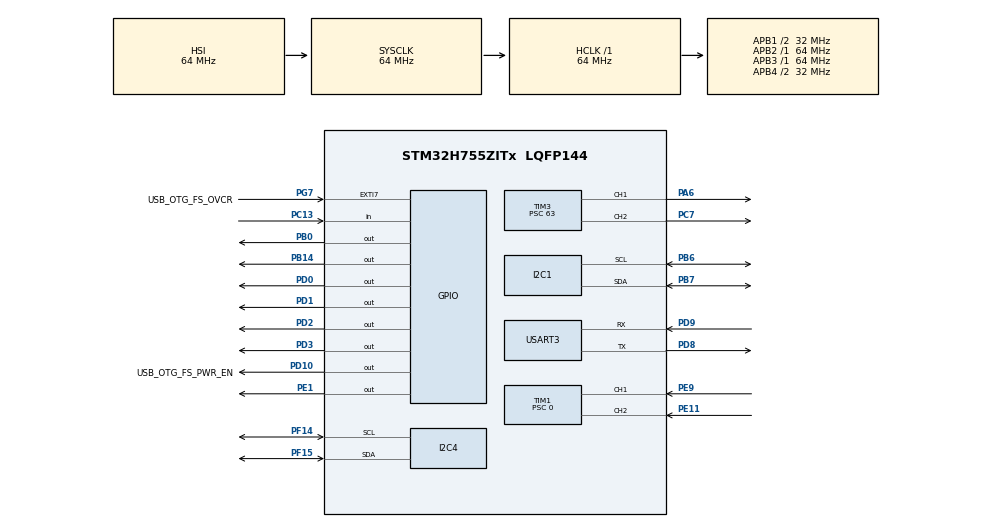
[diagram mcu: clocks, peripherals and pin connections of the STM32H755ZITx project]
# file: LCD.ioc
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CortexM4.IPs=FATFS_M4\:I,FREERTOS_M4\:I,IWDG2\:I,RCC,WWDG2\:I,DMA,BDMA,MDMA,NVIC2\:I,DEBUG,PDM2PCM_M4\:I,PWR,RESMGR_UTILITY,SYS_M4\:I,USB_DEVICE_M4\:I,USB_HOST_M4\:I,CORTEX_M4\:I,GPIO,OPENAMP_M4\:I,VREFBUF,NUCLEO-H755ZI-Q
CortexM7.IPs=FATFS_M7\:I,FREERTOS_M7\:I,IWDG1\:I,RCC\:I,WWDG1\:I,DMA\:I,BDMA\:I,MDMA\:I,NVIC1\:I,USART3\:I,USB_OTG_FS\:I,SYS\:I,CORTEX_M7\:I,DEBUG\:I,PDM2PCM_M7\:I,PWR\:I,RESMGR_UTILITY\:I,USB_DEVICE_M7\:I,USB_HOST_M7\:I,GPIO\:I,OPENAMP_M7\:I,VREFBUF\:I,NUCLEO-H755ZI-Q\:I,MEMORYMAP\:I,I2C4\:I,I2C1\:I,TIM3\:I,TIM1\:I
CortexM7.Pins=PD0,PD1,PD2
I2C1.Timing=0x00707CBB
I2C4.Timing=0x00707CBB
Mcu.Family=STM32H7
Mcu.Name=STM32H755ZITx
Mcu.Package=LQFP144
NVIC1.PriorityGroup=NVIC_PRIORITYGROUP_4
NVIC1.USART3_IRQn=true\:0\:0\:false\:false\:true\:true\:true\:true
NVIC2.PriorityGroup=NVIC_PRIORITYGROUP_4
PA1.PinAttribute=CortexM7
PA1.Signal=ETH_REF_CLK
PA11.PinAttribute=CortexM7
PA11.Signal=USB_OTG_FS_DM
PA12.PinAttribute=CortexM7
PA12.Signal=USB_OTG_FS_DP
PA2.PinAttribute=CortexM7
PA2.Signal=ETH_MDIO
PA6.PinAttribute=CortexM7
PA6.Signal=S_TIM3_CH1
PA7.PinAttribute=CortexM7
PA7.Signal=ETH_CRS_DV
PA8.PinAttribute=CortexM7
PA8.Signal=USB_OTG_FS_SOF
PA9.PinAttribute=CortexM7
PA9.Signal=USB_OTG_FS_VBUS
PB0.PinAttribute=Free
PB0.Signal=GPIO_Output
PB13.PinAttribute=CortexM7
PB13.Signal=ETH_TXD1
PB14.PinAttribute=Free
PB14.Signal=GPIO_Output
PB6.Mode=I2C
PB6.PinAttribute=CortexM7
PB6.Signal=I2C1_SCL
PB7.Mode=I2C
PB7.PinAttribute=CortexM7
PB7.Signal=I2C1_SDA
PC1.PinAttribute=CortexM7
PC1.Signal=ETH_MDC
PC13.PinAttribute=Free
PC13.Signal=GPIO_Input
PC14-OSC32_IN\ (OSC32_IN).PinAttribute=Free
PC14-OSC32_IN\ (OSC32_IN).Signal=RCC_OSC32_IN
PC15-OSC32_OUT\ (OSC32_OUT).PinAttribute=Free
PC15-OSC32_OUT\ (OSC32_OUT).Signal=RCC_OSC32_OUT
PC4.PinAttribute=CortexM7
PC4.Signal=ETH_RXD0
PC5.PinAttribute=CortexM7
PC5.Signal=ETH_RXD1
PC7.PinAttribute=CortexM7
PC7.Signal=S_TIM3_CH2
PD0.GPIO_ModeDefaultOutputPP=GPIO_MODE_OUTPUT_PP
PD0.PinAttribute=CortexM7
PD0.PinState=GPIO_PIN_SET
PD0.Signal=GPIO_Output
PD1.PinAttribute=CortexM7
PD1.PinState=GPIO_PIN_SET
PD1.Signal=GPIO_Output
PD10.GPIO_Label=USB_OTG_FS_PWR_EN
PD10.PinAttribute=Free
PD10.Signal=GPIO_Output
PD2.PinAttribute=CortexM7
PD2.PinState=GPIO_PIN_SET
PD2.Signal=GPIO_Output
PD3.PinAttribute=Free
PD3.PinState=GPIO_PIN_SET
PD3.Signal=GPIO_Output
PD8.Mode=Asynchronous
PD8.PinAttribute=CortexM7
PD8.Signal=USART3_TX
PD9.Mode=Asynchronous
PD9.PinAttribute=CortexM7
PD9.Signal=USART3_RX
PE1.PinAttribute=Free
PE1.Signal=GPIO_Output
PE11.PinAttribute=CortexM7
PE11.Signal=S_TIM1_CH2
PE9.PinAttribute=CortexM7
PE9.Signal=S_TIM1_CH1
PF14.Mode=I2C
PF14.PinAttribute=CortexM7
PF14.Signal=I2C4_SCL
PF15.Mode=I2C
PF15.PinAttribute=CortexM7
PF15.Signal=I2C4_SDA
PG11.PinAttribute=CortexM7
PG11.Signal=ETH_TX_EN
PG13.PinAttribute=CortexM7
PG13.Signal=ETH_TXD0
PG7.GPIO_Label=USB_OTG_FS_OVCR
PG7.PinAttribute=Free
PG7.Signal=GPXTI7
PH0-OSC_IN\ (PH0).PinAttribute=Free
PH0-OSC_IN\ (PH0).Signal=RCC_OSC_IN
PH1-OSC_OUT\ (PH1).PinAttribute=Free
PH1-OSC_OUT\ (PH1).Signal=RCC_OSC_OUT
ProjectManager.HeapSize=M4-0x200,M7-0x200
ProjectManager.StackSize=M4-0x400,M7-0x400
ProjectManager.TargetToolchain=STM32CubeIDE
RCC.ADCFreq_Value=129000000
RCC.APB1Freq_Value=32000000
RCC.APB2Freq_Value=64000000
RCC.APB3Freq_Value=64000000
RCC.APB4Freq_Value=32000000
RCC.CortexFreq_Value=64000000
RCC.D2PPRE1=RCC_APB1_DIV2
RCC.D3PPRE=RCC_APB4_DIV2
RCC.DIVM1=5
RCC.DIVN1=48
RCC.DIVQ1=5
RCC.HCLKFreq_Value=64000000
RCC.PLL2FRACN=0
RCC.PLL3FRACN=0
RCC.PLLFRACN=0
RCC.SYSCLKFreq_VALUE=64000000
RCC.SupplySource=PWR_DIRECT_SMPS_SUPPLY
RCC.USBFreq_Value=122880000
SH.S_TIM1_CH1.0=TIM1_CH1,Encoder_Interface
SH.S_TIM1_CH2.0=TIM1_CH2,Encoder_Interface
SH.S_TIM3_CH1.0=TIM3_CH1,PWM Generation1 CH1
SH.S_TIM3_CH2.0=TIM3_CH2,PWM Generation2 CH2
TIM1.Period=30
TIM1.Prescaler=0
TIM3.AutoReloadPreload=TIM_AUTORELOAD_PRELOAD_ENABLE
TIM3.Channel-PWM\ Generation1\ CH1=TIM_CHANNEL_1
TIM3.Channel-PWM\ Generation2\ CH2=TIM_CHANNEL_2
TIM3.Period=999
TIM3.Prescaler=63
USART3.VirtualMode-Asynchronous=VM_ASYNC
VP_MEMORYMAP_VS_MEMORYMAP.Mode=CurAppReg
VP_SYS_M4_VS_Systick.Mode=SysTick
board=NUCLEO-H755ZI-Q

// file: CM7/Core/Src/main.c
/* USER CODE BEGIN Header */
/**
  ******************************************************************************
  * @file           : main.c
  * @brief          : Main program body
  ******************************************************************************
  * @attention
  *
  * Copyright (c) 2025 STMicroelectronics.
  * All rights reserved.
  *
  * This software is licensed under terms that can be found in the LICENSE file
  * in the root directory of this software component.
  * If no LICENSE file comes with this software, it is provided AS-IS.
  *
  ******************************************************************************
  */
/* USER CODE END Header */
#include "main.h"

/* USER CODE BEGIN Includes */
#include "BMPXX80.h"
#include "grove_lcd_red.h"
#include <stdio.h>
#include <string.h>
/* USER CODE END Includes */

/* USER CODE BEGIN PD */

/* DUAL_CORE_BOOT_SYNC_SEQUENCE: Define for dual core boot synchronization    */
/*                             demonstration code based on hardware semaphore */
/* This define is present in both CM7/CM4 projects                            */
/* To comment when developping/debugging on a single core                     */
#define DUAL_CORE_BOOT_SYNC_SEQUENCE

#if defined(DUAL_CORE_BOOT_SYNC_SEQUENCE)
#ifndef HSEM_ID_0
#define HSEM_ID_0 (0U) /* HW semaphore 0*/
#endif
#endif /* DUAL_CORE_BOOT_SYNC_SEQUENCE */

/* USER CODE END PD */

I2C_HandleTypeDef hi2c1;
I2C_HandleTypeDef hi2c4;

TIM_HandleTypeDef htim1;
TIM_HandleTypeDef htim3;

UART_HandleTypeDef huart3;

/* USER CODE BEGIN PV */
float temperature;
int32_t pressure;
char msg[32];

float setpoint = 30.0;  // predefiniowana temperatura
float Kp = 5.0;
float Ki = 0.01;
float Kd = 2.0;

float error_integral = 0;
float last_error = 0;
float dt = 0.5; // Czas próbkowania
float error;
float u;
float fan=0.6; //min 0 max 1, wypelnienie wentylatora
float error_percent; // procent z bledu do led
float received_val;
uint8_t uart_rx_buffer[4];
int16_t last_counter_value = 0;
extern int16_t last_counter_value;
/* USER CODE END PV */

void SystemClock_Config(void);
static void MX_GPIO_Init(void);
static void MX_I2C4_Init(void);
static void MX_I2C1_Init(void);
static void MX_USART3_UART_Init(void);
static void MX_TIM3_Init(void);
static void MX_TIM1_Init(void);

int main(void)
{

  /* USER CODE BEGIN 1 */
#define MAX_LENGTH 30
char text[MAX_LENGTH];
  /* USER CODE END 1 */
/* USER CODE BEGIN Boot_Mode_Sequence_0 */
#if defined(DUAL_CORE_BOOT_SYNC_SEQUENCE)
  int32_t timeout;
#endif /* DUAL_CORE_BOOT_SYNC_SEQUENCE */
/* USER CODE END Boot_Mode_Sequence_0 */

/* USER CODE BEGIN Boot_Mode_Sequence_1 */
#if defined(DUAL_CORE_BOOT_SYNC_SEQUENCE)
  /* Wait until CPU2 boots and enters in stop mode or timeout*/
   timeout = 0xFFFF;
  while((__HAL_RCC_GET_FLAG(RCC_FLAG_D2CKRDY) != RESET) && (timeout-- > 0));
  if ( timeout < 0 )
  {
  Error_Handler();
  }
#endif /* DUAL_CORE_BOOT_SYNC_SEQUENCE */
/* USER CODE END Boot_Mode_Sequence_1 */
  /* MCU Configuration--------------------------------------------------------*/

  /* Reset of all peripherals, Initializes the Flash interface and the Systick. */
  HAL_Init();

  /* Configure the system clock */
  SystemClock_Config();
/* USER CODE BEGIN Boot_Mode_Sequence_2 */
#if defined(DUAL_CORE_BOOT_SYNC_SEQUENCE)
/* When system initialization is finished, Cortex-M7 will release Cortex-M4 by means of
HSEM notification */
/*HW semaphore Clock enable*/
__HAL_RCC_HSEM_CLK_ENABLE();
/*Take HSEM */
HAL_HSEM_FastTake(HSEM_ID_0);
/*Release HSEM in order to notify the CPU2(CM4)*/
HAL_HSEM_Release(HSEM_ID_0,0);
/* wait until CPU2 wakes up from stop mode */
timeout = 0xFFFF;
while((__HAL_RCC_GET_FLAG(RCC_FLAG_D2CKRDY) == RESET) && (timeout-- > 0));
if ( timeout < 0 )
{
Error_Handler();
}
#endif /* DUAL_CORE_BOOT_SYNC_SEQUENCE */
/* USER CODE END Boot_Mode_Sequence_2 */

  /* Initialize all configured peripherals */
  MX_GPIO_Init();
  MX_I2C4_Init();
  MX_I2C1_Init();
  MX_USART3_UART_Init();
  MX_TIM3_Init();
  MX_TIM1_Init();
  /* USER CODE BEGIN 2 */
    BMP280_Init(&hi2c1, BMP280_TEMPERATURE_16BIT, BMP280_STANDARD, BMP280_FORCEDMODE);
    HAL_UART_Receive_IT(&huart3, uart_rx_buffer, 4);
    GroveLCD_Init();
    HAL_TIM_PWM_Start(&htim3, TIM_CHANNEL_1);
    HAL_TIM_PWM_Start(&htim3, TIM_CHANNEL_2);
    HAL_TIM_Encoder_Start(&htim1, TIM_CHANNEL_ALL);
  /* USER CODE END 2 */

  /* Infinite loop */
  while (1)
  {

    /* USER CODE BEGIN 3 */
        // 1. ODCZYT TEMPERATURY
        BMP280_ReadTemperatureAndPressure(&temperature, &pressure);
        // 2. POBOR SETPOINT Z ENKODERA LUB UART
        int16_t current_counter_value = (int16_t)__HAL_TIM_GET_COUNTER(&htim1);
        int16_t delta = current_counter_value - last_counter_value;
        if (delta !=0) {
            setpoint += (float)(delta );
            last_counter_value = current_counter_value;}
        if (setpoint > 50.0f) setpoint = 50.0f;
        if (setpoint < 20.0f) setpoint = 20.0f;

        // 2. ALGORYTM PID
         error = setpoint - temperature; //UCHYB
        error_integral += error * dt;
        if (error_integral > 100) error_integral = 100; // ANTI WINDUP
        if (error_integral < -100) error_integral = -100;
        float derivative = (error - last_error) / dt; // ROZNICZKOWANIE
         u = (Kp * error + Ki * error_integral + Kd * derivative); // U
        if (u > 1.0f) u = 1.0f;
        if (u < 0.0f) u = 0.0f; // NASYCENIE
        // 3. STEROWANIE PWM
        uint32_t pwm_value = (uint32_t)(u * 1000.0f);
        uint32_t fan_pwm = (uint32_t)(fan * 1000.f);
        __HAL_TIM_SET_COMPARE(&htim3, TIM_CHANNEL_1, pwm_value);
        __HAL_TIM_SET_COMPARE(&htim3, TIM_CHANNEL_2, fan_pwm);
        // 4. WYŚWIETLANIE I DIAGNOSTYKA
        last_error = error;
        GroveLCD_SetCursor(0, 0);
        sprintf(text, "T:%.2f -> %.1f ", temperature, setpoint);
        GroveLCD_Print(text);
        GroveLCD_SetCursor(0, 1);
        sprintf(text, "PWM: %lu %%  ", (uint32_t)(u * 100));
        GroveLCD_Print(text);
        HAL_UART_Transmit(&huart3, (uint8_t*)&temperature, 4, 100);
         error_percent = (error / setpoint) * 100.0f;
        HAL_GPIO_WritePin(GPIOD, GPIO_PIN_0 | GPIO_PIN_1 | GPIO_PIN_2 | GPIO_PIN_3, GPIO_PIN_RESET);
        if (error_percent > 0.01) {HAL_GPIO_WritePin(GPIOD, GPIO_PIN_0, GPIO_PIN_SET);}
        else if (error_percent < -0.01) {HAL_GPIO_WritePin(GPIOD, GPIO_PIN_2, GPIO_PIN_SET);}
        else {HAL_GPIO_WritePin(GPIOD, GPIO_PIN_1, GPIO_PIN_SET);
        	HAL_GPIO_WritePin(GPIOD, GPIO_PIN_3, GPIO_PIN_SET) ;}
        HAL_Delay(500); // Nasze dt = 0.5s
      }
  /* USER CODE END 3 */
}

void SystemClock_Config(void)
{
  RCC_OscInitTypeDef RCC_OscInitStruct = {0};
  RCC_ClkInitTypeDef RCC_ClkInitStruct = {0};

  /** Supply configuration update enable
  */
  HAL_PWREx_ConfigSupply(PWR_DIRECT_SMPS_SUPPLY);

  /** Configure the main internal regulator output voltage
  */
  __HAL_PWR_VOLTAGESCALING_CONFIG(PWR_REGULATOR_VOLTAGE_SCALE3);

  while(!__HAL_PWR_GET_FLAG(PWR_FLAG_VOSRDY)) {}

  /** Initializes the RCC Oscillators according to the specified parameters
  * in the RCC_OscInitTypeDef structure.
  */
  RCC_OscInitStruct.OscillatorType = RCC_OSCILLATORTYPE_HSI;
  RCC_OscInitStruct.HSIState = RCC_HSI_DIV1;
  RCC_OscInitStruct.HSICalibrationValue = RCC_HSICALIBRATION_DEFAULT;
  RCC_OscInitStruct.PLL.PLLState = RCC_PLL_NONE;
  if (HAL_RCC_OscConfig(&RCC_OscInitStruct) != HAL_OK)
  {
    Error_Handler();
  }

  /** Initializes the CPU, AHB and APB buses clocks
  */
  RCC_ClkInitStruct.ClockType = RCC_CLOCKTYPE_HCLK|RCC_CLOCKTYPE_SYSCLK
                              |RCC_CLOCKTYPE_PCLK1|RCC_CLOCKTYPE_PCLK2
                              |RCC_CLOCKTYPE_D3PCLK1|RCC_CLOCKTYPE_D1PCLK1;
  RCC_ClkInitStruct.SYSCLKSource = RCC_SYSCLKSOURCE_HSI;
  RCC_ClkInitStruct.SYSCLKDivider = RCC_SYSCLK_DIV1;
  RCC_ClkInitStruct.AHBCLKDivider = RCC_HCLK_DIV1;
  RCC_ClkInitStruct.APB3CLKDivider = RCC_APB3_DIV1;
  RCC_ClkInitStruct.APB1CLKDivider = RCC_APB1_DIV2;
  RCC_ClkInitStruct.APB2CLKDivider = RCC_APB2_DIV1;
  RCC_ClkInitStruct.APB4CLKDivider = RCC_APB4_DIV2;

  if (HAL_RCC_ClockConfig(&RCC_ClkInitStruct, FLASH_LATENCY_1) != HAL_OK)
  {
    Error_Handler();
  }
}

static void MX_I2C1_Init(void)
{

  hi2c1.Instance = I2C1;
  hi2c1.Init.Timing = 0x00707CBB;
  hi2c1.Init.OwnAddress1 = 0;
  hi2c1.Init.AddressingMode = I2C_ADDRESSINGMODE_7BIT;
  hi2c1.Init.DualAddressMode = I2C_DUALADDRESS_DISABLE;
  hi2c1.Init.OwnAddress2 = 0;
  hi2c1.Init.OwnAddress2Masks = I2C_OA2_NOMASK;
  hi2c1.Init.GeneralCallMode = I2C_GENERALCALL_DISABLE;
  hi2c1.Init.NoStretchMode = I2C_NOSTRETCH_DISABLE;
  if (HAL_I2C_Init(&hi2c1) != HAL_OK)
  {
    Error_Handler();
  }

  /** Configure Analogue filter
  */
  if (HAL_I2CEx_ConfigAnalogFilter(&hi2c1, I2C_ANALOGFILTER_ENABLE) != HAL_OK)
  {
    Error_Handler();
  }

  /** Configure Digital filter
  */
  if (HAL_I2CEx_ConfigDigitalFilter(&hi2c1, 0) != HAL_OK)
  {
    Error_Handler();
  }

}

static void MX_I2C4_Init(void)
{

  hi2c4.Instance = I2C4;
  hi2c4.Init.Timing = 0x00707CBB;
  hi2c4.Init.OwnAddress1 = 0;
  hi2c4.Init.AddressingMode = I2C_ADDRESSINGMODE_7BIT;
  hi2c4.Init.DualAddressMode = I2C_DUALADDRESS_DISABLE;
  hi2c4.Init.OwnAddress2 = 0;
  hi2c4.Init.OwnAddress2Masks = I2C_OA2_NOMASK;
  hi2c4.Init.GeneralCallMode = I2C_GENERALCALL_DISABLE;
  hi2c4.Init.NoStretchMode = I2C_NOSTRETCH_DISABLE;
  if (HAL_I2C_Init(&hi2c4) != HAL_OK)
  {
    Error_Handler();
  }

  /** Configure Analogue filter
  */
  if (HAL_I2CEx_ConfigAnalogFilter(&hi2c4, I2C_ANALOGFILTER_ENABLE) != HAL_OK)
  {
    Error_Handler();
  }

  /** Configure Digital filter
  */
  if (HAL_I2CEx_ConfigDigitalFilter(&hi2c4, 0) != HAL_OK)
  {
    Error_Handler();
  }

}

static void MX_TIM1_Init(void)
{

  TIM_Encoder_InitTypeDef sConfig = {0};
  TIM_MasterConfigTypeDef sMasterConfig = {0};

  htim1.Instance = TIM1;
  htim1.Init.Prescaler = 0;
  htim1.Init.CounterMode = TIM_COUNTERMODE_UP;
  htim1.Init.Period = 30;
  htim1.Init.ClockDivision = TIM_CLOCKDIVISION_DIV1;
  htim1.Init.RepetitionCounter = 0;
  htim1.Init.AutoReloadPreload = TIM_AUTORELOAD_PRELOAD_DISABLE;
  sConfig.EncoderMode = TIM_ENCODERMODE_TI1;
  sConfig.IC1Polarity = TIM_ICPOLARITY_RISING;
  sConfig.IC1Selection = TIM_ICSELECTION_DIRECTTI;
  sConfig.IC1Prescaler = TIM_ICPSC_DIV1;
  sConfig.IC1Filter = 0;
  sConfig.IC2Polarity = TIM_ICPOLARITY_RISING;
  sConfig.IC2Selection = TIM_ICSELECTION_DIRECTTI;
  sConfig.IC2Prescaler = TIM_ICPSC_DIV1;
  sConfig.IC2Filter = 0;
  if (HAL_TIM_Encoder_Init(&htim1, &sConfig) != HAL_OK)
  {
    Error_Handler();
  }
  sMasterConfig.MasterOutputTrigger = TIM_TRGO_RESET;
  sMasterConfig.MasterOutputTrigger2 = TIM_TRGO2_RESET;
  sMasterConfig.MasterSlaveMode = TIM_MASTERSLAVEMODE_DISABLE;
  if (HAL_TIMEx_MasterConfigSynchronization(&htim1, &sMasterConfig) != HAL_OK)
  {
    Error_Handler();
  }

}

static void MX_TIM3_Init(void)
{

  TIM_MasterConfigTypeDef sMasterConfig = {0};
  TIM_OC_InitTypeDef sConfigOC = {0};

  htim3.Instance = TIM3;
  htim3.Init.Prescaler = 63;
  htim3.Init.CounterMode = TIM_COUNTERMODE_UP;
  htim3.Init.Period = 999;
  htim3.Init.ClockDivision = TIM_CLOCKDIVISION_DIV1;
  htim3.Init.AutoReloadPreload = TIM_AUTORELOAD_PRELOAD_ENABLE;
  if (HAL_TIM_PWM_Init(&htim3) != HAL_OK)
  {
    Error_Handler();
  }
  sMasterConfig.MasterOutputTrigger = TIM_TRGO_RESET;
  sMasterConfig.MasterSlaveMode = TIM_MASTERSLAVEMODE_DISABLE;
  if (HAL_TIMEx_MasterConfigSynchronization(&htim3, &sMasterConfig) != HAL_OK)
  {
    Error_Handler();
  }
  sConfigOC.OCMode = TIM_OCMODE_PWM1;
  sConfigOC.Pulse = 0;
  sConfigOC.OCPolarity = TIM_OCPOLARITY_HIGH;
  sConfigOC.OCFastMode = TIM_OCFAST_DISABLE;
  if (HAL_TIM_PWM_ConfigChannel(&htim3, &sConfigOC, TIM_CHANNEL_1) != HAL_OK)
  {
    Error_Handler();
  }
  if (HAL_TIM_PWM_ConfigChannel(&htim3, &sConfigOC, TIM_CHANNEL_2) != HAL_OK)
  {
    Error_Handler();
  }
  HAL_TIM_MspPostInit(&htim3);

}

static void MX_USART3_UART_Init(void)
{

  huart3.Instance = USART3;
  huart3.Init.BaudRate = 115200;
  huart3.Init.WordLength = UART_WORDLENGTH_8B;
  huart3.Init.StopBits = UART_STOPBITS_1;
  huart3.Init.Parity = UART_PARITY_NONE;
  huart3.Init.Mode = UART_MODE_TX_RX;
  huart3.Init.HwFlowCtl = UART_HWCONTROL_NONE;
  huart3.Init.OverSampling = UART_OVERSAMPLING_16;
  huart3.Init.OneBitSampling = UART_ONE_BIT_SAMPLE_DISABLE;
  huart3.Init.ClockPrescaler = UART_PRESCALER_DIV1;
  huart3.AdvancedInit.AdvFeatureInit = UART_ADVFEATURE_NO_INIT;
  if (HAL_UART_Init(&huart3) != HAL_OK)
  {
    Error_Handler();
  }
  if (HAL_UARTEx_SetTxFifoThreshold(&huart3, UART_TXFIFO_THRESHOLD_1_8) != HAL_OK)
  {
    Error_Handler();
  }
  if (HAL_UARTEx_SetRxFifoThreshold(&huart3, UART_RXFIFO_THRESHOLD_1_8) != HAL_OK)
  {
    Error_Handler();
  }
  if (HAL_UARTEx_DisableFifoMode(&huart3) != HAL_OK)
  {
    Error_Handler();
  }

}

static void MX_GPIO_Init(void)
{
  GPIO_InitTypeDef GPIO_InitStruct = {0};

  /* GPIO Ports Clock Enable */
  __HAL_RCC_GPIOC_CLK_ENABLE();
  __HAL_RCC_GPIOA_CLK_ENABLE();
  __HAL_RCC_GPIOF_CLK_ENABLE();
  __HAL_RCC_GPIOE_CLK_ENABLE();
  __HAL_RCC_GPIOB_CLK_ENABLE();
  __HAL_RCC_GPIOD_CLK_ENABLE();
  __HAL_RCC_GPIOG_CLK_ENABLE();

  /*Configure GPIO pin Output Level */
  HAL_GPIO_WritePin(GPIOD, GPIO_PIN_0|GPIO_PIN_1|GPIO_PIN_2, GPIO_PIN_SET);

  /*Configure GPIO pins : PC1 PC4 PC5 */
  GPIO_InitStruct.Pin = GPIO_PIN_1|GPIO_PIN_4|GPIO_PIN_5;
  GPIO_InitStruct.Mode = GPIO_MODE_AF_PP;
  GPIO_InitStruct.Pull = GPIO_NOPULL;
  GPIO_InitStruct.Speed = GPIO_SPEED_FREQ_LOW;
  GPIO_InitStruct.Alternate = GPIO_AF11_ETH;
  HAL_GPIO_Init(GPIOC, &GPIO_InitStruct);

  /*Configure GPIO pins : PA1 PA2 PA7 */
  GPIO_InitStruct.Pin = GPIO_PIN_1|GPIO_PIN_2|GPIO_PIN_7;
  GPIO_InitStruct.Mode = GPIO_MODE_AF_PP;
  GPIO_InitStruct.Pull = GPIO_NOPULL;
  GPIO_InitStruct.Speed = GPIO_SPEED_FREQ_LOW;
  GPIO_InitStruct.Alternate = GPIO_AF11_ETH;
  HAL_GPIO_Init(GPIOA, &GPIO_InitStruct);

  /*Configure GPIO pin : PB13 */
  GPIO_InitStruct.Pin = GPIO_PIN_13;
  GPIO_InitStruct.Mode = GPIO_MODE_AF_PP;
  GPIO_InitStruct.Pull = GPIO_NOPULL;
  GPIO_InitStruct.Speed = GPIO_SPEED_FREQ_LOW;
  GPIO_InitStruct.Alternate = GPIO_AF11_ETH;
  HAL_GPIO_Init(GPIOB, &GPIO_InitStruct);

  /*Configure GPIO pins : PA8 PA11 PA12 */
  GPIO_InitStruct.Pin = GPIO_PIN_8|GPIO_PIN_11|GPIO_PIN_12;
  GPIO_InitStruct.Mode = GPIO_MODE_AF_PP;
  GPIO_InitStruct.Pull = GPIO_NOPULL;
  GPIO_InitStruct.Speed = GPIO_SPEED_FREQ_LOW;
  GPIO_InitStruct.Alternate = GPIO_AF10_OTG1_FS;
  HAL_GPIO_Init(GPIOA, &GPIO_InitStruct);

  /*Configure GPIO pins : PD0 PD1 PD2 */
  GPIO_InitStruct.Pin = GPIO_PIN_0|GPIO_PIN_1|GPIO_PIN_2;
  GPIO_InitStruct.Mode = GPIO_MODE_OUTPUT_PP;
  GPIO_InitStruct.Pull = GPIO_NOPULL;
  GPIO_InitStruct.Speed = GPIO_SPEED_FREQ_LOW;
  HAL_GPIO_Init(GPIOD, &GPIO_InitStruct);

  /*Configure GPIO pins : PG11 PG13 */
  GPIO_InitStruct.Pin = GPIO_PIN_11|GPIO_PIN_13;
  GPIO_InitStruct.Mode = GPIO_MODE_AF_PP;
  GPIO_InitStruct.Pull = GPIO_NOPULL;
  GPIO_InitStruct.Speed = GPIO_SPEED_FREQ_LOW;
  GPIO_InitStruct.Alternate = GPIO_AF11_ETH;
  HAL_GPIO_Init(GPIOG, &GPIO_InitStruct);

  /* USER CODE BEGIN MX_GPIO_Init_2 */
  /*Configure GPIO pins : PD0 PD1 PD2 PD3 */
  GPIO_InitStruct.Pin = GPIO_PIN_0 | GPIO_PIN_1 | GPIO_PIN_2 | GPIO_PIN_3;
  GPIO_InitStruct.Mode = GPIO_MODE_OUTPUT_PP;
  GPIO_InitStruct.Pull = GPIO_NOPULL;
  GPIO_InitStruct.Speed = GPIO_SPEED_FREQ_LOW;
  HAL_GPIO_Init(GPIOD, &GPIO_InitStruct);
  /* USER CODE END MX_GPIO_Init_2 */
}

/* USER CODE BEGIN 4 */
void HAL_UART_RxCpltCallback(UART_HandleTypeDef *huart) {
    if (huart->Instance == USART3) {
        float new_sp = *(float*)uart_rx_buffer;

        if (new_sp >= 20.0f && new_sp <= 50.0f) {
            setpoint = new_sp;

            __HAL_TIM_SET_COUNTER(&htim1, (uint32_t)setpoint);
            last_counter_value = (int16_t)__HAL_TIM_GET_COUNTER(&htim1);
        }
        HAL_UART_Receive_IT(&huart3, uart_rx_buffer, 4);
    }
}
/* USER CODE END 4 */

void Error_Handler(void)
{
  __disable_irq();
  while (1)
  {
  }
}
